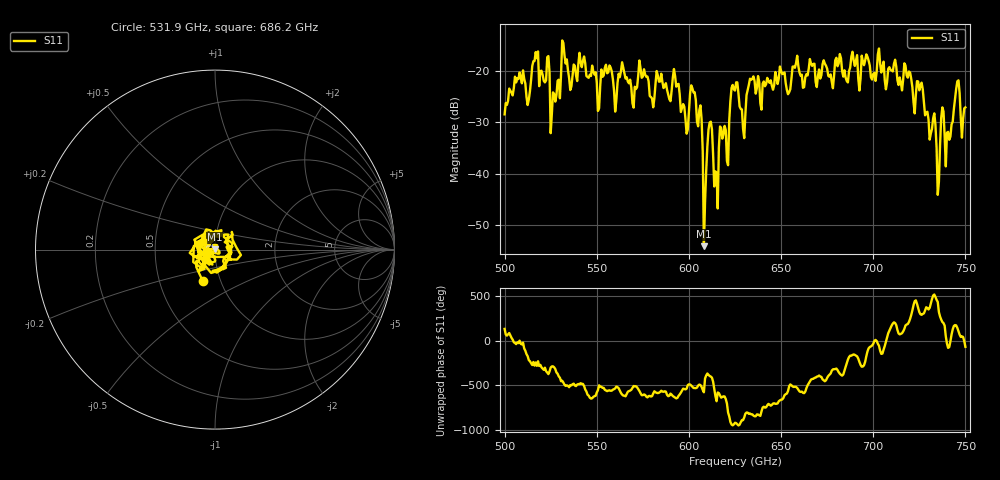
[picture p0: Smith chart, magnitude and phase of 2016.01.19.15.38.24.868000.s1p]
!Created with skrf (http://scikit-rf.org).
# GHz S RI R 50.0
!freq ReS11 ImS11
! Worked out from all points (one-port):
!   401 points, 500 GHz to 750 GHz, reference 50 ohm
!   lowest |S11| = -54.2 dB at 608.1 GHz (marker M1), VSWR 1.00, Z = 49.9 + j0.127 ohm
!   |S11| at or under -10 dB: start of sweep to end of sweep
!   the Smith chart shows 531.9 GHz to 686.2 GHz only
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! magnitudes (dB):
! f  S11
! 500 GHz  -28.4
! 506.9 GHz  -21.3
! 513.1 GHz  -25.5
! 516.9 GHz  -16.2
! 523.1 GHz  -17.2
! 526.2 GHz  -24.1
! 531.2 GHz  -14.0
! 550.6 GHz  -27.7
! 562.5 GHz  -21.1
! 593.8 GHz  -22.6
! 598.8 GHz  -32.2
! 602.5 GHz  -24.1
! 606.2 GHz  -26.7
! 608.1 GHz  -54.2
! 609.4 GHz  -39.4
! 611.2 GHz  -30.0
! 615 GHz  -39.8
! 625 GHz  -23.8
! 629.4 GHz  -31.2
! 633.8 GHz  -21.7
! 656.2 GHz  -19.1
! 687.5 GHz  -19.2
! 718.8 GHz  -21.2
! 725.6 GHz  -22.9
! 735 GHz  -44.1
! 740.6 GHz  -31.8
! 745.6 GHz  -21.9
! 750 GHz  -27.0
